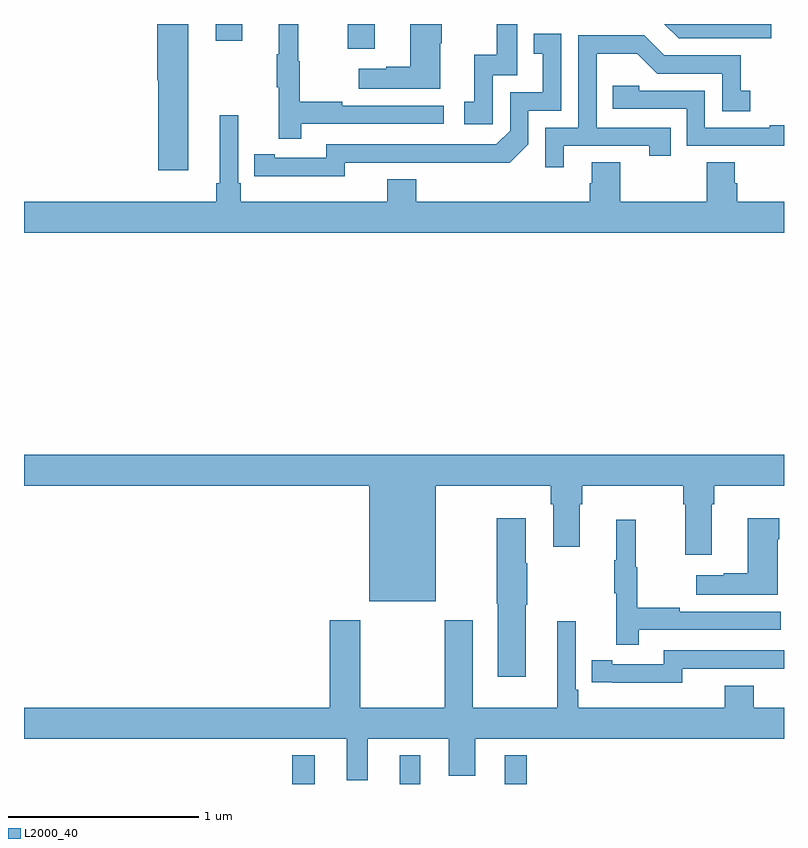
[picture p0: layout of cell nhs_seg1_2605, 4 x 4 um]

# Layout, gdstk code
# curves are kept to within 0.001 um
import gdstk
lib = gdstk.Library(unit=1e-6, precision=1e-09)
def R(c, l, rs):  # rectangles x0, y0, x1, y1
    for r in rs: c.add(gdstk.rectangle(r[:2], r[2:], *l))
def P(c, l, *ps):  # polygons
    for p in ps: c.add(gdstk.Polygon(p, *l))
L2000_40 = (2000, 40)

nhs_seg1_2605 = lib.new_cell('nhs_seg1_2605')
R(nhs_seg1_2605, L2000_40, [(254.412,514.199,254.53,514.351), (254.978,514.199,255.085,514.351), (255.53,514.199,255.647,514.351), (254.705,518.07,254.845,518.199), (254.009,518.112,254.149,518.199)])
P(nhs_seg1_2605, L2000_40, [(255.468,517.929),(255.597,517.929),(255.597,518.199),(255.489,518.199),(255.489,518.038),(255.371,518.038),(255.371,517.791),(255.318,517.791),(255.318,517.671),(255.468,517.671)],
  [(255.19,518.099),(255.198,518.099),(255.198,518.199),(255.032,518.199),(255.032,517.973),(254.906,517.973),(254.906,517.963),(254.763,517.963),(254.763,517.859),(255.19,517.859)],
  [(256.932,518.199),(256.371,518.199),(256.446,518.124),(256.932,518.124)],
  [(253.864,518.199),(253.7,518.199),(253.7,517.902),(253.706,517.902),(253.706,517.428),(253.864,517.428)],
  [(254.459,517.674),(255.208,517.674),(255.208,517.77),(254.675,517.77),(254.675,517.79),(254.452,517.79),(254.452,518.004),(254.444,518.004),(254.444,518.199),(254.342,518.199),(254.342,518.041),(254.331,518.041),(254.331,517.867),(254.342,517.867),(254.342,517.596),(254.459,517.596)],
  [(254.688,517.47),(255.556,517.469),(255.654,517.566),(255.654,517.743),(255.828,517.743),(255.828,518.149),(255.682,518.149),(255.682,518.043),(255.731,518.043),(255.731,517.839),(255.558,517.839),(255.558,517.638),(255.486,517.566),(254.592,517.566),(254.592,517.494),(254.32,517.494),(254.32,517.514),(254.212,517.514),(254.212,517.398),(254.688,517.397)],
  [(255.841,517.557),(256.292,517.557),(256.292,517.506),(256.403,517.506),(256.403,517.653),(256.014,517.653),(256.014,518.042),(256.228,518.042),(256.332,517.938),(256.674,517.938),(256.674,517.74),(256.822,517.74),(256.822,517.849),(256.773,517.849),(256.773,518.034),(256.369,518.034),(256.264,518.139),(255.918,518.139),(255.918,517.653),(255.744,517.653),(255.744,517.446),(255.841,517.446)],
  [(257,517.666),(256.925,517.666),(256.925,517.653),(256.584,517.653),(256.584,517.848),(256.239,517.848),(256.239,517.875),(256.099,517.875),(256.099,517.752),(256.488,517.752),(256.488,517.557),(257,517.557)],
  [(257,517.264),(256.754,517.264),(256.754,517.362),(256.741,517.362),(256.741,517.472),(256.594,517.472),(256.594,517.264),(256.137,517.264),(256.137,517.472),(255.989,517.472),(255.989,517.362),(255.977,517.362),(255.977,517.264),(255.065,517.264),(255.065,517.381),(254.912,517.381),(254.912,517.264),(254.141,517.264),(254.141,517.36),(254.127,517.36),(254.127,517.72),(254.03,517.72),(254.03,517.36),(254.011,517.36),(254.011,517.264),(253,517.264),(253,517.1),(257,517.1)],
  [(255.166,515.768),(255.773,515.768),(255.773,515.672),(255.785,515.672),(255.785,515.448),(255.925,515.448),(255.925,515.672),(255.938,515.672),(255.938,515.768),(256.469,515.768),(256.469,515.672),(256.481,515.672),(256.481,515.406),(256.621,515.406),(256.621,515.672),(256.634,515.672),(256.634,515.768),(257,515.768),(257,515.932),(253,515.932),(253,515.768),(254.816,515.768),(254.816,515.162),(255.166,515.162)],
  [(256.966,515.486),(256.974,515.486),(256.974,515.599),(256.808,515.599),(256.808,515.309),(256.682,515.309),(256.682,515.299),(256.539,515.299),(256.539,515.195),(256.966,515.195)],
  [(255.64,515.143),(255.648,515.143),(255.648,515.36),(255.64,515.36),(255.64,515.599),(255.487,515.599),(255.487,515.149),(255.494,515.149),(255.494,514.764),(255.64,514.764)],
  [(256.235,515.01),(256.984,515.01),(256.984,515.106),(256.451,515.106),(256.451,515.126),(256.228,515.126),(256.228,515.34),(256.22,515.34),(256.22,515.59),(256.118,515.59),(256.118,515.377),(256.107,515.377),(256.107,515.203),(256.118,515.203),(256.118,514.932),(256.235,514.932)],
  [(254.809,514.436),(255.236,514.436),(255.236,514.242),(255.376,514.242),(255.376,514.436),(257,514.436),(257,514.6),(256.841,514.6),(256.841,514.717),(256.688,514.717),(256.688,514.6),(255.917,514.6),(255.917,514.696),(255.903,514.696),(255.903,515.056),(255.806,515.056),(255.806,514.6),(255.361,514.6),(255.361,515.062),(255.214,515.062),(255.214,514.6),(254.769,514.6),(254.769,515.062),(254.609,515.062),(254.609,514.6),(253,514.6),(253,514.436),(254.699,514.436),(254.699,514.218),(254.809,514.218)],
  [(256.464,514.806),(256.924,514.806),(256.924,514.805),(257,514.805),(257,514.902),(256.368,514.902),(256.368,514.83),(256.096,514.83),(256.096,514.85),(255.988,514.85),(255.988,514.734),(256.096,514.734),(256.096,514.733),(256.464,514.733)])

lib.write_gds('nhs_seg1_2605.gds')
